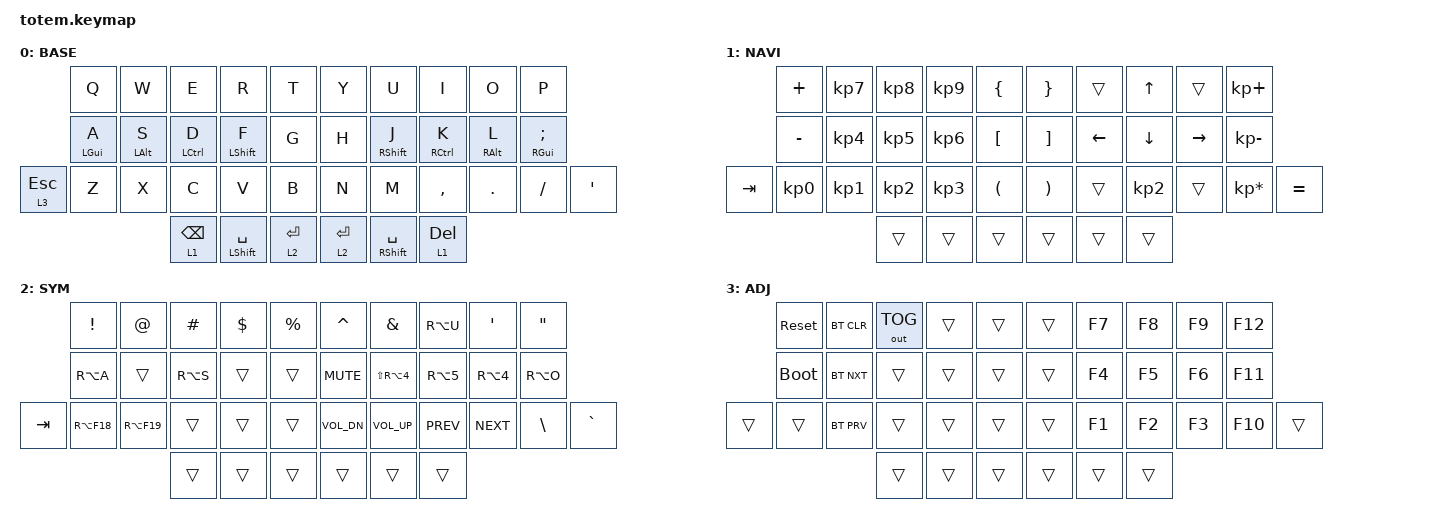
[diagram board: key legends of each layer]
//
//                                                        ▀▀▀▀▀     ▀▀▀▀▀          ▀▀█▀▀
//                                                        ▄▀▀▀▄  ▄  ▄▀▀▀▄  ▄  ▄▀▀▀▄  █  ▄▀▀▀▄
//                                                        █   █  █  █   █  █  █   █  █  █   █
//                                                         ▀▀▀   █   ▀▀▀   █   ▀▀▀   ▀   ▀▀▀
//                                                               █      ▄▄▄█▄▄▄    █   █  
//                                                               ▀      █  █  █     █▄█
//                                                             ▀▀▀▀▀    █  █  █      ▀
//                                                                      ▀  ▀  ▀
//
// ▄▄▄▄▄▄▄▄▄▄▄▄▄▄▄▄▄▄▄▄▄▄▄▄▄▄▄▄▄▄▄▄▄▄▄▄▄▄▄▄▄▄▄▄▄▄▄▄▄▄▄▄▄▄▄▄▄▄▄▄▄▄▄▄▄▄▄▄▄▄▄▄▄▄▄▄▄▄▄▄▄▄▄▄▄▄▄▄▄▄▄▄▄▄▄▄▄▄▄▄▄▄▄▄▄▄▄▄▄▄▄▄▄▄▄▄▄▄▄▄▄▄▄▄▄▄▄▄▄▄▄▄▄▄▄▄▄▄▄▄▄▄▄▄▄▄▄▄▄

#include <behaviors.dtsi>
#include <dt-bindings/zmk/bt.h>
#include <dt-bindings/zmk/keys.h>
#include <dt-bindings/zmk/outputs.h>

#define BASE 0
#define NAV  1
#define SYM  2
#define ADJ  3
#define TVP1 4
#define TVP2 5

&mt { quick-tap-ms = <300>; };

&lt { quick-tap-ms = <500>; };

/ {
    behaviors {
        hm: homerow_mods {
            compatible = "zmk,behavior-hold-tap";
            #binding-cells = <2>;
            tapping-term-ms = <200>;
            quick-tap-ms = <300>;
            flavor = "balanced";
            bindings = <&kp>, <&kp>;
        };
    };

    combos {
        compatible = "zmk,combos";

        combo_esc {
            timeout-ms = <50>;
            key-positions = <0 1>;
            bindings = <&kp ESC>;
        };

        combo_tvp {
            timeout-ms = <100>;
            key-positions = <11 12 13>;
            bindings = <&tog 0>;
        };

        semi {
            bindings = <&kp SEMI>;
            key-positions = <29 30>;
        };
    };

    keymap {
        compatible = "zmk,keymap";

        // ▄▄▄▄▄▄▄▄▄▄▄▄▄▄▄▄▄▄▄▄▄▄▄▄▄▄▄▄▄▄▄▄▄▄▄▄▄▄▄▄▄▄▄▄▄▄▄▄▄▄▄▄▄▄▄▄▄▄▄▄▄▄▄▄▄▄▄▄▄▄▄▄▄▄▄▄▄▄▄▄▄▄▄▄▄▄▄▄▄▄▄▄▄▄▄▄▄▄▄▄▄▄▄▄▄▄▄▄▄▄▄▄▄▄▄▄▄▄▄▄▄▄▄▄▄▄▄▄▄▄▄▄▄▄▄▄▄▄▄▄▄▄▄▄▄▄▄▄▄

        base_layer {
            // ┏━━━━━━━━━━━━━━━━━━━━━━━━━━━━━━━━━━━━━━━┓

            label = "BASE";

            // ┗━━━━━━━━━━━━━━━━━━━━━━━━━━━━━━━━━━━━━━━┛
            //             ┏━━━━━━━━━━━┳━━━━━━━━━━━┳━━━━━━━━━━━┳━━━━━━━━━━━┳━━━━━━━━━━━┓   ┏━━━━━━━━━━━┳━━━━━━━━━━━┳━━━━━━━━━━━┳━━━━━━━━━━━┳━━━━━━━━━━━┓
            //             ┃     Q     ┃     W     ┃     F     ┃     P     ┃     G     ┃   ┃     J     ┃     L     ┃     U     ┃     Y     ┃     ;     ┃
            //             ┣━━━━━━━━━━━╋━━━━━━━━━━━╋━━━━━━━━━━━╋━━━━━━━━━━━╋━━━━━━━━━━━┫   ┣━━━━━━━━━━━╋━━━━━━━━━━━╋━━━━━━━━━━━╋━━━━━━━━━━━╋━━━━━━━━━━━┫
            //             ┃     A     ┃     R     ┃     S     ┃     T     ┃     D     ┃   ┃     H     ┃     N     ┃     E     ┃     I     ┃     O     ┃
            // ┏━━━━━━━━━━━╋━━━━━━━━━━━╋━━━━━━━━━━━╋━━━━━━━━━━━╋━━━━━━━━━━━╋━━━━━━━━━━━┫   ┣━━━━━━━━━━━╋━━━━━━━━━━━╋━━━━━━━━━━━╋━━━━━━━━━━━╋━━━━━━━━━━━╋━━━━━━━━━━━┓
            // ┃           ┃     Z     ┃     X     ┃     C     ┃     V     ┃     B     ┃   ┃     K     ┃     M     ┃     ,     ┃     .     ┃     /     ┃           ┃
            // ┗━━━━━━━━━━━┻━━━━━━━━━━━┻━━━━━━━━━━━╋━━━━━━━━━━━╋━━━━━━━━━━━╋━━━━━━━━━━━┫   ┣━━━━━━━━━━━╋━━━━━━━━━━━╋━━━━━━━━━━━╋━━━━━━━━━━━┻━━━━━━━━━━━┻━━━━━━━━━━━┛
            //                                     ┃           ┃    TAB    ┃    SPC    ┃   ┃   ENTER   ┃   BSPC    ┃           ┃
            //                                     ┗━━━━━━━━━━━┻━━━━━━━━━━━┻━━━━━━━━━━━┛   ┗━━━━━━━━━━━┻━━━━━━━━━━━┻━━━━━━━━━━━┛

            bindings = <
           &kp Q       &kp W       &kp E            &kp R             &kp T        &kp Y      &kp U             &kp I         &kp O       &kp P
           &hm LGUI A  &hm LALT S  &hm LCTRL D      &hm LSHFT F       &kp G        &kp H      &hm RSHFT J       &hm RCTRL K   &hm RALT L  &hm RGUI SEMICOLON
&lt 3 ESC  &kp Z       &kp X       &kp C            &kp V             &kp B        &kp N      &kp M             &kp COMMA     &kp DOT     &kp FSLH            &kp SQT
                                   &lt 1 BACKSPACE  &hm LSHIFT SPACE  &lt 2 RET    &lt 2 RET  &hm RSHIFT SPACE  &lt 1 DELETE
            >;
        };

        // ▄▄▄▄▄▄▄▄▄▄▄▄▄▄▄▄▄▄▄▄▄▄▄▄▄▄▄▄▄▄▄▄▄▄▄▄▄▄▄▄▄▄▄▄▄▄▄▄▄▄▄▄▄▄▄▄▄▄▄▄▄▄▄▄▄▄▄▄▄▄▄▄▄▄▄▄▄▄▄▄▄▄▄▄▄▄▄▄▄▄▄▄▄▄▄▄▄▄▄▄▄▄▄▄▄▄▄▄▄▄▄▄▄▄▄▄▄▄▄▄▄▄▄▄▄▄▄▄▄▄▄▄▄▄▄▄▄▄▄▄▄▄▄▄▄▄▄▄▄

        nav_layer {
            // ┏━━━━━━━━━━━━━━━━━━━━━━━━━━━━━━━━━━━━━━━┓

            label = "NAVI";

            // ┗━━━━━━━━━━━━━━━━━━━━━━━━━━━━━━━━━━━━━━━┛
            //             ┏━━━━━━━━━━━┳━━━━━━━━━━━┳━━━━━━━━━━━┳━━━━━━━━━━━┳━━━━━━━━━━━┓   ┏━━━━━━━━━━━┳━━━━━━━━━━━┳━━━━━━━━━━━┳━━━━━━━━━━━┳━━━━━━━━━━━┓
            //             ┃           ┃           ┃     UP    ┃           ┃     {     ┃   ┃     }     ┃     7     ┃     8     ┃     9     ┃     +     ┃
            //             ┣━━━━━━━━━━━╋━━━━━━━━━━━╋━━━━━━━━━━━╋━━━━━━━━━━━╋━━━━━━━━━━━┫   ┣━━━━━━━━━━━╋━━━━━━━━━━━╋━━━━━━━━━━━╋━━━━━━━━━━━╋━━━━━━━━━━━┫
            //             ┃   SHIFT   ┃   LEFT    ┃    DOWN   ┃   RIGHT   ┃     [     ┃   ┃     ]     ┃     4     ┃     5     ┃     6     ┃     -     ┃
            // ┏━━━━━━━━━━━╋━━━━━━━━━━━╋━━━━━━━━━━━╋━━━━━━━━━━━╋━━━━━━━━━━━╋━━━━━━━━━━━┫   ┣━━━━━━━━━━━╋━━━━━━━━━━━╋━━━━━━━━━━━╋━━━━━━━━━━━╋━━━━━━━━━━━╋━━━━━━━━━━━┓
            // ┃           ┃           ┃   P UP    ┃  C LOCK   ┃  P DOWN   ┃     (     ┃   ┃     )     ┃     1     ┃     2     ┃     3     ┃     *     ┃           ┃
            // ┗━━━━━━━━━━━┻━━━━━━━━━━━┻━━━━━━━━━━━╋━━━━━━━━━━━╋━━━━━━━━━━━╋━━━━━━━━━━━┫   ┣━━━━━━━━━━━╋━━━━━━━━━━━╋━━━━━━━━━━━╋━━━━━━━━━━━┻━━━━━━━━━━━┻━━━━━━━━━━━┛
            //                                     ┃           ┃    TAB    ┃    SPC    ┃   ┃    DEL    ┃     0     ┃           ┃
            //                                     ┗━━━━━━━━━━━┻━━━━━━━━━━━┻━━━━━━━━━━━┛   ┗━━━━━━━━━━━┻━━━━━━━━━━━┻━━━━━━━━━━━┛

            bindings = <
         &kp PLUS         &kp KP_NUMBER_7  &kp KP_NUMBER_8  &kp KP_NUMBER_9  &kp LBRC    &kp RBRC  &trans    &kp UP     &trans     &kp KP_PLUS
         &kp MINUS        &kp KP_NUMBER_4  &kp KP_NUMBER_5  &kp KP_NUMBER_6  &kp LBKT    &kp RBKT  &kp LEFT  &kp DOWN   &kp RIGHT  &kp KP_MINUS
&kp TAB  &kp KP_NUMBER_0  &kp KP_NUMBER_1  &kp KP_NUMBER_2  &kp KP_NUMBER_3  &kp LPAR    &kp RPAR  &trans    &kp KP_N2  &trans     &kp KP_MULTIPLY  &kp EQUAL
                                           &trans           &trans           &trans      &trans    &trans    &trans
            >;
        };

        // ▄▄▄▄▄▄▄▄▄▄▄▄▄▄▄▄▄▄▄▄▄▄▄▄▄▄▄▄▄▄▄▄▄▄▄▄▄▄▄▄▄▄▄▄▄▄▄▄▄▄▄▄▄▄▄▄▄▄▄▄▄▄▄▄▄▄▄▄▄▄▄▄▄▄▄▄▄▄▄▄▄▄▄▄▄▄▄▄▄▄▄▄▄▄▄▄▄▄▄▄▄▄▄▄▄▄▄▄▄▄▄▄▄▄▄▄▄▄▄▄▄▄▄▄▄▄▄▄▄▄▄▄▄▄▄▄▄▄▄▄▄▄▄▄▄▄▄▄▄

        sim_layer {
            // ┏━━━━━━━━━━━━━━━━━━━━━━━━━━━━━━━━━━━━━━━┓

            label = "SYM";

            // ┗━━━━━━━━━━━━━━━━━━━━━━━━━━━━━━━━━━━━━━━┛
            //             ┏━━━━━━━━━━━┳━━━━━━━━━━━┳━━━━━━━━━━━┳━━━━━━━━━━━┳━━━━━━━━━━━┓   ┏━━━━━━━━━━━┳━━━━━━━━━━━┳━━━━━━━━━━━┳━━━━━━━━━━━┳━━━━━━━━━━━┓
            //             ┃     !     ┃     @     ┃     #     ┃     $     ┃     %     ┃   ┃     ˆ     ┃     &     ┃     Ü     ┃     '     ┃     "     ┃
            //             ┣━━━━━━━━━━━╋━━━━━━━━━━━╋━━━━━━━━━━━╋━━━━━━━━━━━╋━━━━━━━━━━━┫   ┣━━━━━━━━━━━╋━━━━━━━━━━━╋━━━━━━━━━━━╋━━━━━━━━━━━╋━━━━━━━━━━━┫
            //             ┃     Ä     ┃           ┃    SZ     ┃           ┃           ┃   ┃   MUTE    ┃   YEN     ┃   EURO    ┃  POUND    ┃     Ö     ┃
            // ┏━━━━━━━━━━━╋━━━━━━━━━━━╋━━━━━━━━━━━╋━━━━━━━━━━━╋━━━━━━━━━━━╋━━━━━━━━━━━┫   ┣━━━━━━━━━━━╋━━━━━━━━━━━╋━━━━━━━━━━━╋━━━━━━━━━━━╋━━━━━━━━━━━╋━━━━━━━━━━━┓
            // ┃           ┃  EMAIL1   ┃  EMAIL2   ┃           ┃           ┃           ┃   ┃   VOL-    ┃   VOL+    ┃   LAST    ┃   NEXT    ┃     \     ┃           ┃
            // ┗━━━━━━━━━━━┻━━━━━━━━━━━┻━━━━━━━━━━━╋━━━━━━━━━━━╋━━━━━━━━━━━╋━━━━━━━━━━━┫   ┣━━━━━━━━━━━╋━━━━━━━━━━━╋━━━━━━━━━━━╋━━━━━━━━━━━┻━━━━━━━━━━━┻━━━━━━━━━━━┛
            //                                     ┃           ┃    GIF    ┃    ADJ    ┃   ┃           ┃           ┃           ┃
            //                                     ┗━━━━━━━━━━━┻━━━━━━━━━━━┻━━━━━━━━━━━┛   ┗━━━━━━━━━━━┻━━━━━━━━━━━┻━━━━━━━━━━━┛

            bindings = <
         &kp EXCL     &kp AT       &kp HASH   &kp DLLR  &kp PRCNT    &kp CARET     &kp AMPS        &kp RA(U)   &kp SQT     &kp DQT
         &kp RA(A)    &trans       &kp RA(S)  &trans    &trans       &kp C_MUTE    &kp LS(RA(N4))  &kp RA(N5)  &kp RA(N4)  &kp RA(O)
&kp TAB  &kp RA(F18)  &kp RA(F19)  &trans     &trans    &trans       &kp C_VOL_DN  &kp C_VOL_UP    &kp C_PREV  &kp C_NEXT  &kp BSLH   &kp GRAVE
                                   &trans     &trans    &trans       &trans        &trans          &trans
            >;
        };

        // ▄▄▄▄▄▄▄▄▄▄▄▄▄▄▄▄▄▄▄▄▄▄▄▄▄▄▄▄▄▄▄▄▄▄▄▄▄▄▄▄▄▄▄▄▄▄▄▄▄▄▄▄▄▄▄▄▄▄▄▄▄▄▄▄▄▄▄▄▄▄▄▄▄▄▄▄▄▄▄▄▄▄▄▄▄▄▄▄▄▄▄▄▄▄▄▄▄▄▄▄▄▄▄▄▄▄▄▄▄▄▄▄▄▄▄▄▄▄▄▄▄▄▄▄▄▄▄▄▄▄▄▄▄▄▄▄▄▄▄▄▄▄▄▄▄▄▄▄▄

        adjust_layer {
            // ┏━━━━━━━━━━━━━━━━━━━━━━━━━━━━━━━━━━━━━━━┓

            label = "ADJ";

            // ┗━━━━━━━━━━━━━━━━━━━━━━━━━━━━━━━━━━━━━━━┛
            //             ┏━━━━━━━━━━━┳━━━━━━━━━━━┳━━━━━━━━━━━┳━━━━━━━━━━━┳━━━━━━━━━━━┓   ┏━━━━━━━━━━━┳━━━━━━━━━━━┳━━━━━━━━━━━┳━━━━━━━━━━━┳━━━━━━━━━━━┓
            //             ┃   RESET   ┃ BT CLEAR  ┃  OUT TOG  ┃           ┃           ┃   ┃           ┃    F7     ┃    F8     ┃    F9     ┃    F12    ┃
            //             ┣━━━━━━━━━━━╋━━━━━━━━━━━╋━━━━━━━━━━━╋━━━━━━━━━━━╋━━━━━━━━━━━┫   ┣━━━━━━━━━━━╋━━━━━━━━━━━╋━━━━━━━━━━━╋━━━━━━━━━━━╋━━━━━━━━━━━┫
            //             ┃ BOOTLOAD  ┃ BT NEXT   ┃           ┃           ┃           ┃   ┃           ┃    F4     ┃    F5     ┃    F6     ┃    F11    ┃
            // ┏━━━━━━━━━━━╋━━━━━━━━━━━╋━━━━━━━━━━━╋━━━━━━━━━━━╋━━━━━━━━━━━╋━━━━━━━━━━━┫   ┣━━━━━━━━━━━╋━━━━━━━━━━━╋━━━━━━━━━━━╋━━━━━━━━━━━╋━━━━━━━━━━━╋━━━━━━━━━━━┓
            // ┃           ┃           ┃ BT PREV   ┃           ┃           ┃           ┃   ┃           ┃    F1     ┃    F2     ┃    F3     ┃    F10    ┃           ┃
            // ┗━━━━━━━━━━━┻━━━━━━━━━━━┻━━━━━━━━━━━╋━━━━━━━━━━━╋━━━━━━━━━━━╋━━━━━━━━━━━┫   ┣━━━━━━━━━━━╋━━━━━━━━━━━╋━━━━━━━━━━━╋━━━━━━━━━━━┻━━━━━━━━━━━┻━━━━━━━━━━━┛
            //                                     ┃           ┃           ┃           ┃   ┃           ┃           ┃           ┃
            //                                     ┗━━━━━━━━━━━┻━━━━━━━━━━━┻━━━━━━━━━━━┛   ┗━━━━━━━━━━━┻━━━━━━━━━━━┻━━━━━━━━━━━┛

            bindings = <
        &sys_reset   &bt BT_CLR  &out OUT_TOG  &trans  &trans    &trans  &kp F7  &kp F8  &kp F9  &kp F12
        &bootloader  &bt BT_NXT  &trans        &trans  &trans    &trans  &kp F4  &kp F5  &kp F6  &kp F11
&trans  &trans       &bt BT_PRV  &trans        &trans  &trans    &trans  &kp F1  &kp F2  &kp F3  &kp F10  &trans
                                 &trans        &trans  &trans    &trans  &trans  &trans
            >;
        };

        // ▄▄▄▄▄▄▄▄▄▄▄▄▄▄▄▄▄▄▄▄▄▄▄▄▄▄▄▄▄▄▄▄▄▄▄▄▄▄▄▄▄▄▄▄▄▄▄▄▄▄▄▄▄▄▄▄▄▄▄▄▄▄▄▄▄▄▄▄▄▄▄▄▄▄▄▄▄▄▄▄▄▄▄▄▄▄▄▄▄▄▄▄▄▄▄▄▄▄▄▄▄▄▄▄▄▄▄▄▄▄▄▄▄▄▄▄▄▄▄▄▄▄▄▄▄▄▄▄▄▄▄▄▄▄▄▄▄▄▄▄▄▄▄▄▄▄▄▄▄
        // ▄▄▄▄▄▄▄▄▄▄▄▄▄▄▄▄▄▄▄▄▄▄▄▄▄▄▄▄▄▄▄▄▄▄▄▄▄▄▄▄▄▄▄▄▄▄▄▄▄▄▄▄▄▄▄▄▄▄▄▄▄▄▄▄▄▄▄▄▄▄▄▄▄▄▄▄▄▄▄▄▄▄▄▄▄▄▄▄▄▄▄▄▄▄▄▄▄▄▄▄▄▄▄▄▄▄▄▄▄▄▄▄▄▄▄▄▄▄▄▄▄▄▄▄▄▄▄▄▄▄▄▄▄▄▄▄▄▄▄▄▄▄▄▄▄▄▄▄▄
    };
};
